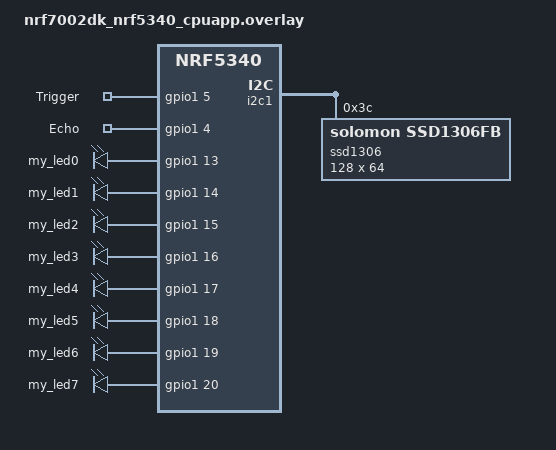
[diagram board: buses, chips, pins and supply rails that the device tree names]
&gpio1 {
    my_leds {
        compatible = "gpio-leds";

        my_led0: led_0 { gpios = <&gpio1 13 GPIO_ACTIVE_HIGH>; };
        my_led1: led_1 { gpios = <&gpio1 14 GPIO_ACTIVE_HIGH>; };
        my_led2: led_2 { gpios = <&gpio1 15 GPIO_ACTIVE_HIGH>; };
        my_led3: led_3 { gpios = <&gpio1 16 GPIO_ACTIVE_HIGH>; };
        my_led4: led_4 { gpios = <&gpio1 17 GPIO_ACTIVE_HIGH>; };
        my_led5: led_5 { gpios = <&gpio1 18 GPIO_ACTIVE_HIGH>; };
        my_led6: led_6 { gpios = <&gpio1 19 GPIO_ACTIVE_HIGH>; };
        my_led7: led_7 { gpios = <&gpio1 20 GPIO_ACTIVE_HIGH>; };
    };
};

&i2c1 {
    status = "okay";

    ssd1306: ssd1306@3c {
        compatible = "solomon,ssd1306fb";
        reg = <0x3c>;
        status = "okay";

        width = <128>;
        height = <64>;

        segment-offset = <0>;
        page-offset = <0>;
        display-offset = <0>;
        multiplex-ratio = <63>;

        segment-remap;
        com-invdir;

        prechargep = <0x22>;
    };
};

/ {
    hc_sr04 {
        compatible = "gpio-keys";

        trig_pin: trig_pin {
            gpios = <&gpio1 5 GPIO_ACTIVE_HIGH>;
            label = "Trigger";
        };

        echo_pin: echo_pin {
            gpios = <&gpio1 4 GPIO_ACTIVE_HIGH>;
            label = "Echo";
        };
    };
};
